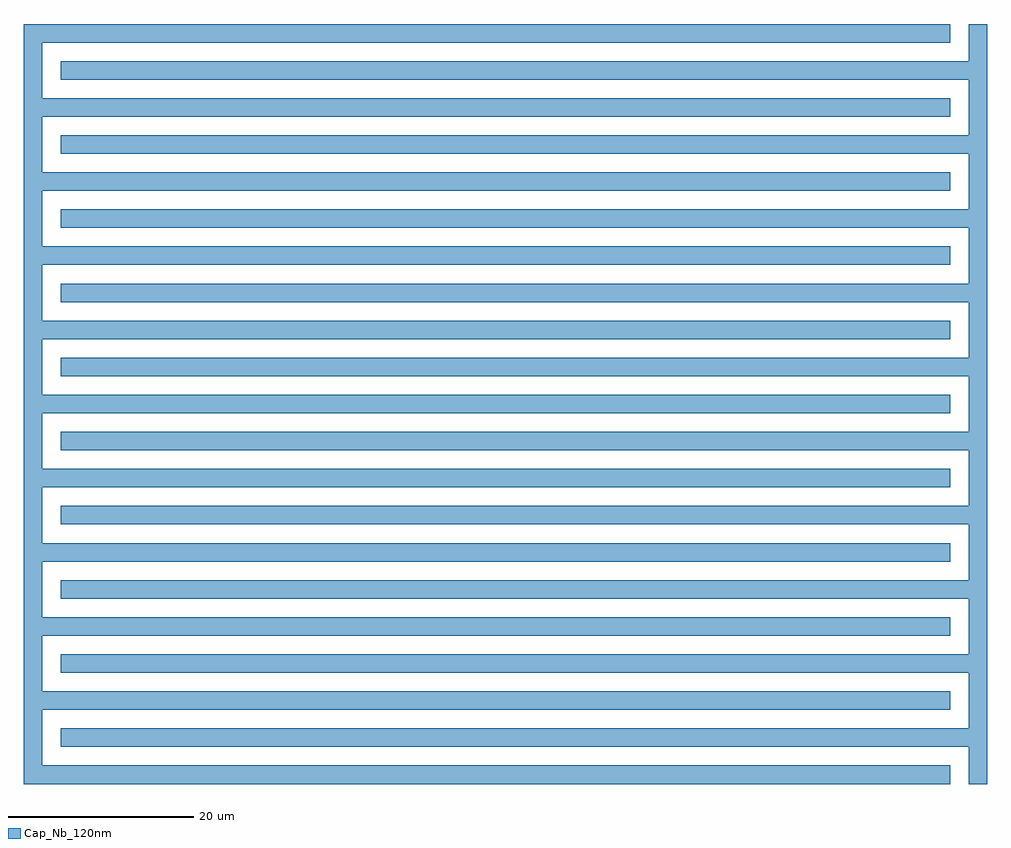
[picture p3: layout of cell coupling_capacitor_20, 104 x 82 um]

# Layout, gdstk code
import gdstk
lib = gdstk.Library(unit=1e-6, precision=1e-09)
def R(c, l, rs):  # rectangles x0, y0, x1, y1
    for r in rs: c.add(gdstk.rectangle(r[:2], r[2:], *l))
def A(c, l, x, y, w, h, nx, ny, dx, dy):  # array of equal rectangles
    R(c, l, [(x+i*dx, y+j*dy, x+i*dx+w, y+j*dy+h) for i in range(nx) for j in range(ny)])
Cap_Nb_120nm = (6, 0)

coupling_capacitor_20 = lib.new_cell('coupling_capacitor_20')
A(coupling_capacitor_20, Cap_Nb_120nm, -50, -41, 98, 2, 1, 11, 0, 8)
A(coupling_capacitor_20, Cap_Nb_120nm, -48, -37, 98, 2, 1, 10, 0, 8)
R(coupling_capacitor_20, Cap_Nb_120nm, [(-52,-41,-50,41), (50,-41,52,41)])

lib.write_gds('coupling_capacitor_20.gds')
